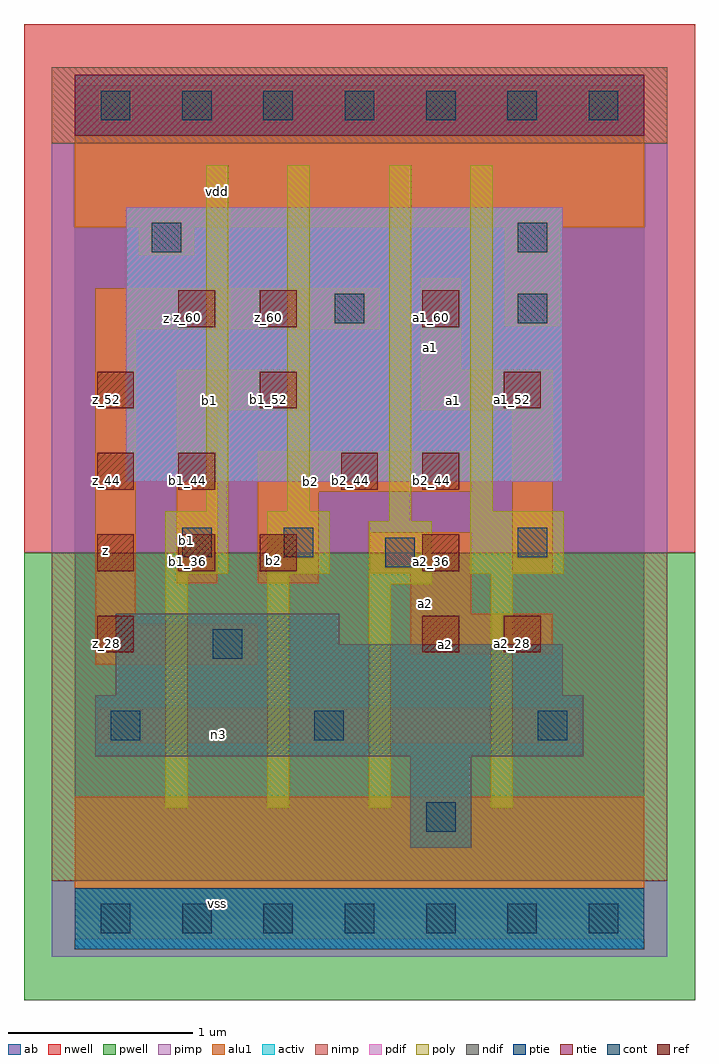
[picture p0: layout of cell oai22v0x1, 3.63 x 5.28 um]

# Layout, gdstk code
import gdstk
lib = gdstk.Library(unit=1e-6, precision=2.5e-09)
def R(c, l, rs):  # rectangles x0, y0, x1, y1
    for r in rs: c.add(gdstk.rectangle(r[:2], r[2:], *l))
def A(c, l, x, y, w, h, nx, ny, dx, dy):  # array of equal rectangles
    R(c, l, [(x+i*dx, y+j*dy, x+i*dx+w, y+j*dy+h) for i in range(nx) for j in range(ny)])
ndif = (3, 0)
pdif = (4, 0)
ntie = (5, 0)
ptie = (6, 0)
ref = (24, 0)
cont = (25, 0)
pwell = (41, 0)
nwell = (42, 0)
activ = (43, 0)
pimp = (44, 0)
nimp = (45, 0)
poly = (46, 0)
alu1 = (49, 0)
ab = (63, 0)

oai22v0x1 = lib.new_cell('oai22v0x1')
R(oai22v0x1, ndif, [(1.815,0.385,2.145,0.88), (0.11,0.88,2.75,1.21), (0.22,1.21,2.64,1.485), (0.22,1.485,1.43,1.65)])
R(oai22v0x1, pdif, [(0.275,2.365,2.64,3.85)])
R(oai22v0x1, ntie, [(0,4.235,3.08,4.565)])
R(oai22v0x1, ptie, [(0,-0.165,3.08,0.165)])
A(oai22v0x1, ref, 1.88, 1.44, 0.2, 0.2, 1, 3, 0, 0.44)
A(oai22v0x1, ref, 0.12, 1.88, 0.2, 0.2, 3, 1, 0.44, 0)
R(oai22v0x1, ref, [(0.12,1.44,0.32,1.64), (2.32,1.44,2.52,1.64), (0.12,2.32,0.32,2.52), (0.56,2.32,0.76,2.52), (1.44,2.32,1.64,2.52), (0.12,2.76,0.32,2.96), (1,2.76,1.2,2.96), (2.32,2.76,2.52,2.96), (0.56,3.2,0.76,3.4), (1,3.2,1.2,3.4), (1.88,3.2,2.08,3.4)])
A(oai22v0x1, cont, 0.14, -0.08, 0.16, 0.16, 7, 2, 0.44, 4.4)
R(oai22v0x1, cont, [(1.9,0.47,2.06,0.63), (0.195,0.965,0.355,1.125), (1.295,0.965,1.455,1.125), (2.505,0.965,2.665,1.125), (0.745,1.405,0.905,1.565), (1.68,1.9,1.84,2.06), (0.58,1.955,0.74,2.115), (1.13,1.955,1.29,2.115), (2.395,1.955,2.555,2.115), (1.405,3.22,1.565,3.38), (2.395,3.22,2.555,3.38), (0.415,3.605,0.575,3.765), (2.395,3.605,2.555,3.765)])
R(oai22v0x1, pwell, [(-0.275,-0.44,3.355,1.98)])
R(oai22v0x1, nwell, [(-0.275,1.98,3.355,4.84)])
R(oai22v0x1, activ, [(0,-0.165,3.08,0.165), (1.815,0.385,2.145,0.88), (0.11,0.88,2.75,1.21), (0.22,1.21,2.64,1.485), (0.22,1.485,1.43,1.65), (0.275,2.365,2.64,3.85), (0,4.235,3.08,4.565)])
R(oai22v0x1, pimp, [(-0.125,-0.205,3.205,0.205), (-0.125,1.98,3.205,4.195)])
R(oai22v0x1, nimp, [(-0.125,0.205,3.205,1.98), (-0.125,4.195,3.205,4.605)])
R(oai22v0x1, poly, [(0.49,0.6,0.61,1.865), (1.04,0.6,1.16,1.865), (1.59,0.6,1.71,1.81), (2.25,0.6,2.37,1.865), (1.59,1.81,1.93,2.15), (0.49,1.865,0.83,2.205), (1.04,1.865,1.38,2.205), (2.14,1.865,2.645,2.205), (1.7,2.15,1.82,4.075), (0.71,2.205,0.83,4.075), (1.15,2.205,1.27,4.075), (2.14,2.205,2.26,4.075)])
R(oai22v0x1, alu1, [(0,-0.11,3.08,0.66), (0.125,0.95,2.735,1.14), (0.11,1.375,0.99,1.595), (1.815,1.43,2.585,1.65), (0.11,1.595,0.33,3.19), (1.815,1.65,2.145,1.87), (0.55,1.815,0.77,2.75), (0.99,1.815,1.32,2.31), (1.595,1.87,2.145,2.09), (2.365,1.87,2.585,2.75), (0.99,2.31,2.145,2.53), (0.55,2.75,1.265,2.97), (1.87,2.75,2.585,2.97), (1.87,2.97,2.09,3.465), (0.11,3.19,1.65,3.41), (2.325,3.205,2.625,3.74), (0.345,3.59,0.645,3.74), (0,3.74,3.08,4.51)])
R(oai22v0x1, ab, [(0,0,3.08,4.4)])
oai22v0x1.add(gdstk.Label('vss', (0.77,0.0825), layer=49, texttype=0))
oai22v0x1.add(gdstk.Label('n3', (0.7775,0.9975), layer=49, texttype=0))
oai22v0x1.add(gdstk.Label('a2', (2.0075,1.485), layer=49, texttype=0))
oai22v0x1.add(gdstk.Label('a2', (1.8975,1.705), layer=49, texttype=0))
oai22v0x1.add(gdstk.Label('b2', (1.0725,1.9375), layer=49, texttype=0))
oai22v0x1.add(gdstk.Label('b2', (1.2775,2.365), layer=49, texttype=0))
oai22v0x1.add(gdstk.Label('b1', (0.605,2.0475), layer=49, texttype=0))
oai22v0x1.add(gdstk.Label('a1', (2.0475,2.805), layer=49, texttype=0))
oai22v0x1.add(gdstk.Label('b1', (0.7275,2.805), layer=49, texttype=0))
oai22v0x1.add(gdstk.Label('a1', (1.925,3.0925), layer=49, texttype=0))
oai22v0x1.add(gdstk.Label('z', (0.165,1.9925), layer=49, texttype=0))
oai22v0x1.add(gdstk.Label('z', (0.495,3.245), layer=49, texttype=0))
oai22v0x1.add(gdstk.Label('vdd', (0.77,3.9325), layer=49, texttype=0))
oai22v0x1.add(gdstk.Label('a1_52', (2.37,2.81), layer=24, texttype=0))
oai22v0x1.add(gdstk.Label('a2_28', (2.37,1.49), layer=24, texttype=0))
oai22v0x1.add(gdstk.Label('z_52', (0.17,2.81), layer=24, texttype=0))
oai22v0x1.add(gdstk.Label('z_44', (0.17,2.37), layer=24, texttype=0))
oai22v0x1.add(gdstk.Label('z_36', (0.17,1.93), layer=24, texttype=0))
oai22v0x1.add(gdstk.Label('z_28', (0.17,1.49), layer=24, texttype=0))
oai22v0x1.add(gdstk.Label('a1_60', (1.93,3.25), layer=24, texttype=0))
oai22v0x1.add(gdstk.Label('b2_44', (1.93,2.37), layer=24, texttype=0))
oai22v0x1.add(gdstk.Label('a2_36', (1.93,1.93), layer=24, texttype=0))
oai22v0x1.add(gdstk.Label('a2_28', (1.93,1.49), layer=24, texttype=0))
oai22v0x1.add(gdstk.Label('b2_44', (1.49,2.37), layer=24, texttype=0))
oai22v0x1.add(gdstk.Label('z_60', (1.05,3.25), layer=24, texttype=0))
oai22v0x1.add(gdstk.Label('b1_52', (1.05,2.81), layer=24, texttype=0))
oai22v0x1.add(gdstk.Label('b2_36', (1.05,1.93), layer=24, texttype=0))
oai22v0x1.add(gdstk.Label('z_60', (0.61,3.25), layer=24, texttype=0))
oai22v0x1.add(gdstk.Label('b1_44', (0.61,2.37), layer=24, texttype=0))
oai22v0x1.add(gdstk.Label('b1_36', (0.61,1.93), layer=24, texttype=0))

lib.write_gds('oai22v0x1.gds')
